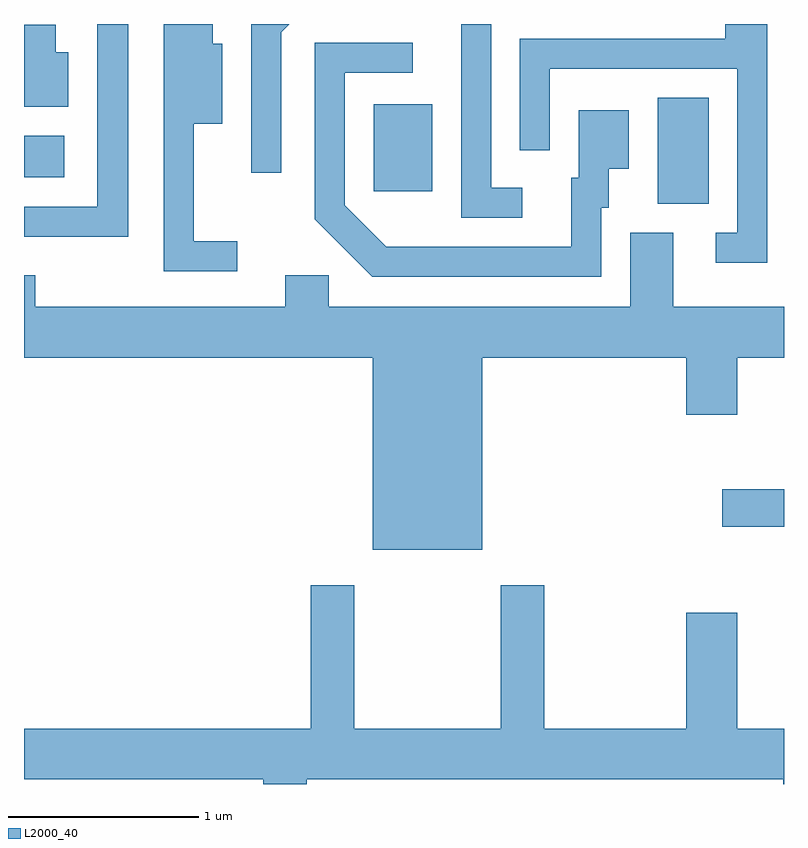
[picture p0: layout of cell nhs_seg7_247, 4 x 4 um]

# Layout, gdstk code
import gdstk
lib = gdstk.Library(unit=1e-6, precision=1e-09)
def R(c, l, rs):  # rectangles x0, y0, x1, y1
    for r in rs: c.add(gdstk.rectangle(r[:2], r[2:], *l))
def P(c, l, *ps):  # polygons
    for p in ps: c.add(gdstk.Polygon(p, *l))
L2000_40 = (2000, 40)

nhs_seg7_247 = lib.new_cell('nhs_seg7_247')
R(nhs_seg7_247, L2000_40, [(195.286,1755.606,195.611,1755.804), (194.946,1757.306,195.214,1757.864), (193.451,1757.371,193.759,1757.829), (191.611,1757.446,191.824,1757.664)])
P(nhs_seg7_247, L2000_40, [(192.964,1758.209),(193.007,1758.252),(192.806,1758.252),(192.806,1757.468),(192.964,1757.468)],
  [(192.733,1757.109),(192.504,1757.109),(192.504,1757.726),(192.654,1757.726),(192.654,1758.149),(192.604,1758.149),(192.604,1758.252),(192.346,1758.252),(192.346,1756.951),(192.733,1756.951)],
  [(192.159,1758.252),(191.996,1758.252),(191.996,1757.289),(191.611,1757.289),(191.611,1757.131),(192.159,1757.131)],
  [(194.233,1757.389),(194.069,1757.389),(194.069,1758.252),(193.911,1758.252),(193.911,1757.231),(194.233,1757.231)],
  [(195.524,1758.252),(195.301,1758.252),(195.301,1758.174),(194.221,1758.174),(194.221,1757.588),(194.379,1757.588),(194.379,1758.016),(195.366,1758.016),(195.366,1757.154),(195.253,1757.154),(195.253,1756.996),(195.524,1756.996)],
  [(191.844,1758.104),(191.779,1758.104),(191.779,1758.249),(191.611,1758.249),(191.611,1757.816),(191.844,1757.816)],
  [(194.649,1757.286),(194.689,1757.286),(194.689,1757.491),(194.794,1757.491),(194.794,1757.799),(194.531,1757.799),(194.531,1757.444),(194.491,1757.444),(194.491,1757.079),(193.517,1757.079),(193.299,1757.297),(193.299,1757.996),(193.658,1757.996),(193.658,1758.154),(193.141,1758.154),(193.141,1757.224),(193.444,1756.921),(194.649,1756.921)],
  [(194.024,1756.496),(195.096,1756.496),(195.096,1756.196),(195.364,1756.196),(195.364,1756.496),(195.611,1756.496),(195.611,1756.764),(195.029,1756.764),(195.029,1757.154),(194.801,1757.154),(194.801,1756.764),(193.214,1756.764),(193.214,1756.929),(192.986,1756.929),(192.986,1756.764),(191.669,1756.764),(191.669,1756.929),(191.611,1756.929),(191.611,1756.496),(193.446,1756.496),(193.446,1755.486),(194.024,1755.486)],
  [(193.099,1754.276),(195.606,1754.276),(195.606,1754.252),(195.611,1754.252),(195.611,1754.544),(195.364,1754.544),(195.364,1755.154),(195.096,1755.154),(195.096,1754.544),(194.349,1754.544),(194.349,1755.299),(194.121,1755.299),(194.121,1754.544),(193.349,1754.544),(193.349,1755.299),(193.121,1755.299),(193.121,1754.544),(191.611,1754.544),(191.611,1754.276),(192.871,1754.276),(192.871,1754.252),(193.099,1754.252)])

lib.write_gds('nhs_seg7_247.gds')
